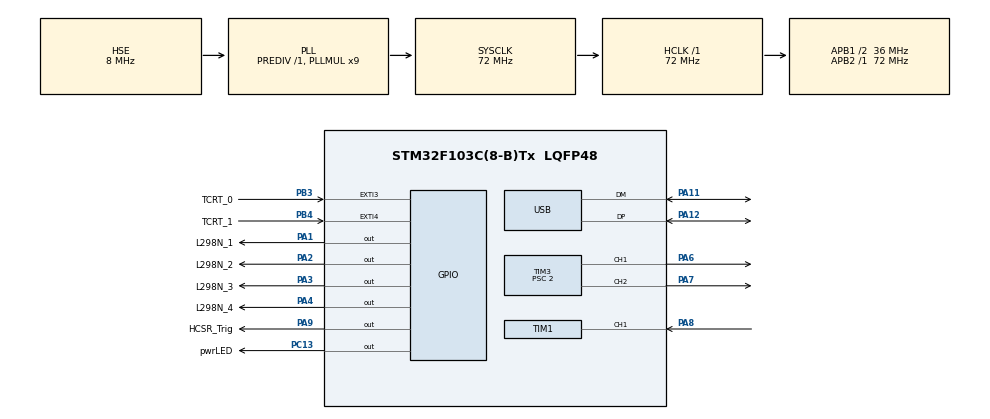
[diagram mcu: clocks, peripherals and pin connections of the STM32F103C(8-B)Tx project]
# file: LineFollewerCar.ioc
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Mcu.Family=STM32F1
USB_DEVICE.CLASS_NAME_FS=CDC
PB4.GPIO_ModeDefaultEXTI=GPIO_MODE_IT_RISING_FALLING
NVIC.EXTI3_IRQn=true\:0\:0\:false\:false\:true\:true\:true
PA11.Mode=Device
PB3.GPIO_ModeDefaultEXTI=GPIO_MODE_IT_RISING_FALLING
RCC.SYSCLKSource=RCC_SYSCLKSOURCE_PLLCLK
ProjectManager.StackSize=0x400
PD1-OSC_OUT.Signal=RCC_OSC_OUT
PA12.Signal=USB_DP
TIM1.Prescaler=72-1
RCC.HCLKFreq_Value=72000000
RCC.APB2TimFreq_Value=72000000
TIM3.Period=999
RCC.AHBFreq_Value=72000000
TIM3.Channel-PWM\ Generation1\ CH1=TIM_CHANNEL_1
RCC.PLLMUL=RCC_PLL_MUL9
PB3.GPIO_PuPd=GPIO_PULLDOWN
PC14-OSC32_IN.Mode=LSE-External-Oscillator
PA14.Mode=Serial_Wire
TIM3.Prescaler=2
PA8.Signal=S_TIM1_CH1
SH.S_TIM3_CH1.0=TIM3_CH1,PWM Generation1 CH1
VP_TIM1_VS_ClockSourceINT.Mode=Internal
Mcu.Package=LQFP48
PA6.Signal=S_TIM3_CH1
PA2.GPIO_Label=L298N_2
RCC.APB1TimFreq_Value=72000000
TIM1.Period=0xffff-1
PA4.GPIO_Label=L298N_4
VP_TIM3_VS_ClockSourceINT.Mode=Internal
PB4.Signal=GPXTI4
PA3.Signal=GPIO_Output
PB3.GPIO_Label=TCRT_0
RCC.PLLSourceVirtual=RCC_PLLSOURCE_HSE
PC15-OSC32_OUT.Mode=LSE-External-Oscillator
NVIC.EXTI4_IRQn=true\:0\:0\:false\:false\:true\:true\:true
PD1-OSC_OUT.Mode=HSE-External-Oscillator
USB_DEVICE.VirtualModeFS=Cdc_FS
PA9.GPIO_Label=HCSR_Trig
PC13-TAMPER-RTC.Signal=GPIO_Output
RCC.USBPrescaler=RCC_USBCLKSOURCE_PLL_DIV1_5
PD0-OSC_IN.Signal=RCC_OSC_IN
RCC.APB1CLKDivider=RCC_HCLK_DIV2
PC14-OSC32_IN.Signal=RCC_OSC32_IN
PA13.Signal=SYS_JTMS-SWDIO
SH.S_TIM1_CH1.0=TIM1_CH1,Input_Capture1_from_TI1
ProjectManager.TargetToolchain=STM32CubeIDE
VP_USB_DEVICE_VS_USB_DEVICE_CDC_FS.Mode=CDC_FS
PA9.Signal=GPIO_Output
PB4.GPIO_PuPd=GPIO_PULLDOWN
RCC.USBFreq_Value=48000000
PC15-OSC32_OUT.Signal=RCC_OSC32_OUT
PA1.Signal=GPIO_Output
PD0-OSC_IN.Mode=HSE-External-Oscillator
SH.S_TIM3_CH2.0=TIM3_CH2,PWM Generation2 CH2
board=custom
PC13-TAMPER-RTC.GPIO_Label=pwrLED
RCC.APB2Freq_Value=72000000
PB4.GPIO_Label=TCRT_1
NVIC.USB_LP_CAN1_RX0_IRQn=true\:0\:0\:false\:false\:true\:false\:true
PA1.GPIO_Label=L298N_1
PA13.Mode=Serial_Wire
Mcu.Name=STM32F103C(8-B)Tx
PA2.Signal=GPIO_Output
NVIC.TIM1_CC_IRQn=true\:0\:0\:false\:false\:true\:true\:true
PB3.Signal=GPXTI3
PA4.Signal=GPIO_Output
RCC.SYSCLKFreq_VALUE=72000000
PA12.Mode=Device
TIM1.Channel-Input_Capture1_from_TI1=TIM_CHANNEL_1
PA11.Signal=USB_DM
PA14.Signal=SYS_JTCK-SWCLK
ProjectManager.HeapSize=0x200
NVIC.PriorityGroup=NVIC_PRIORITYGROUP_4
TIM3.Channel-PWM\ Generation2\ CH2=TIM_CHANNEL_2
RCC.APB1Freq_Value=36000000
USB_DEVICE.VirtualMode=Cdc
PA3.GPIO_Label=L298N_3
PA7.Signal=S_TIM3_CH2

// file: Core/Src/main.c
/* USER CODE BEGIN Header */
/**
  ******************************************************************************
  * @file           : main.c
  * @brief          : Main program body
  ******************************************************************************
  * @attention
  *
  * <h2><center>&copy; Copyright (c) 2021 STMicroelectronics.
  * All rights reserved.</center></h2>
  *
  * This software component is licensed by ST under BSD 3-Clause license,
  * the "License"; You may not use this file except in compliance with the
  * License. You may obtain a copy of the License at:
  *                        opensource.org/licenses/BSD-3-Clause
  *
  ******************************************************************************
  */
/* USER CODE END Header */
#include "main.h"
#include "usb_device.h"

/* USER CODE BEGIN Includes */
#include "L298N.h"
#include "TCRT5000.h"
#include "HCSR04.h"
/* USER CODE END Includes */

/* USER CODE BEGIN PD */
#define STOP_DISTANCE	10U
#define MOTOR_SPEED_LINEAR_MAX	630U
#define MOTOR_SPEED_ROUNDED_MAX	680U
/* USER CODE END PD */

TIM_HandleTypeDef htim1;
TIM_HandleTypeDef htim3;

/* USER CODE BEGIN PV */
//HCSR04 Handler
HCSR_Handlder_t hhcsr;

//TCRT5000 Handler
TCRT_Handler_t htcrt_right;
TCRT_Handler_t htcrt_left;

//L298N Handler
L298N_Handler_t hl298n_right;
L298N_Handler_t hl298n_left;

/* USER CODE END PV */

void SystemClock_Config(void);
static void MX_GPIO_Init(void);
static void MX_TIM1_Init(void);
static void MX_TIM3_Init(void);
/* USER CODE BEGIN PFP */
//Init Func.
static void HCSR04_Init(void);
static void HTCRT_Init(void);
static void HL298N_Init(void);

//Motor Func
void motorForward(void);
void motorBackward(void);
void motorLeft(void);
void motorRight(void);
void motorStop(void);
void motorHandler(int8_t cmd);
//TCRT
int8_t tcrt_handler(void);

//HCSR04 Distance Control
int8_t hcsr_cntrlDistance(void);

int8_t cmd = 0;
/* USER CODE END PFP */

int main(void)
{

  /* MCU Configuration--------------------------------------------------------*/

  /* Reset of all peripherals, Initializes the Flash interface and the Systick. */
  HAL_Init();

  /* Configure the system clock */
  SystemClock_Config();

  /* Initialize all configured peripherals */
  MX_GPIO_Init();
  MX_TIM1_Init();
  MX_TIM3_Init();
  MX_USB_DEVICE_Init();
  /* USER CODE BEGIN 2 */
  HCSR04_Init();
  HTCRT_Init();
  HL298N_Init();

  HAL_Delay(1500);
  /* USER CODE END 2 */

  /* Infinite loop */
  while (1)
  {

    /* USER CODE BEGIN 3 */
	  //Send Read Command
	  HCSR_Read(&hhcsr);

	  //Calculate distance
	  HCSR_Handler(&hhcsr);
	  cmd = tcrt_handler();
	  //control Distance
	  if(hcsr_cntrlDistance()){
		 motorHandler(cmd);
	  }else{
		  //Motor Stop
		  motorStop();
	  }

	  //Wait echo signal
	  HAL_Delay(100);

  }
  /* USER CODE END 3 */
}

void SystemClock_Config(void)
{
  RCC_OscInitTypeDef RCC_OscInitStruct = {0};
  RCC_ClkInitTypeDef RCC_ClkInitStruct = {0};
  RCC_PeriphCLKInitTypeDef PeriphClkInit = {0};

  /** Initializes the RCC Oscillators according to the specified parameters
  * in the RCC_OscInitTypeDef structure.
  */
  RCC_OscInitStruct.OscillatorType = RCC_OSCILLATORTYPE_HSE;
  RCC_OscInitStruct.HSEState = RCC_HSE_ON;
  RCC_OscInitStruct.HSEPredivValue = RCC_HSE_PREDIV_DIV1;
  RCC_OscInitStruct.HSIState = RCC_HSI_ON;
  RCC_OscInitStruct.PLL.PLLState = RCC_PLL_ON;
  RCC_OscInitStruct.PLL.PLLSource = RCC_PLLSOURCE_HSE;
  RCC_OscInitStruct.PLL.PLLMUL = RCC_PLL_MUL9;
  if (HAL_RCC_OscConfig(&RCC_OscInitStruct) != HAL_OK)
  {
    Error_Handler();
  }
  /** Initializes the CPU, AHB and APB buses clocks
  */
  RCC_ClkInitStruct.ClockType = RCC_CLOCKTYPE_HCLK|RCC_CLOCKTYPE_SYSCLK
                              |RCC_CLOCKTYPE_PCLK1|RCC_CLOCKTYPE_PCLK2;
  RCC_ClkInitStruct.SYSCLKSource = RCC_SYSCLKSOURCE_PLLCLK;
  RCC_ClkInitStruct.AHBCLKDivider = RCC_SYSCLK_DIV1;
  RCC_ClkInitStruct.APB1CLKDivider = RCC_HCLK_DIV2;
  RCC_ClkInitStruct.APB2CLKDivider = RCC_HCLK_DIV1;

  if (HAL_RCC_ClockConfig(&RCC_ClkInitStruct, FLASH_LATENCY_2) != HAL_OK)
  {
    Error_Handler();
  }
  PeriphClkInit.PeriphClockSelection = RCC_PERIPHCLK_USB;
  PeriphClkInit.UsbClockSelection = RCC_USBCLKSOURCE_PLL_DIV1_5;
  if (HAL_RCCEx_PeriphCLKConfig(&PeriphClkInit) != HAL_OK)
  {
    Error_Handler();
  }
}

static void MX_TIM1_Init(void)
{

  TIM_ClockConfigTypeDef sClockSourceConfig = {0};
  TIM_MasterConfigTypeDef sMasterConfig = {0};
  TIM_IC_InitTypeDef sConfigIC = {0};

  htim1.Instance = TIM1;
  htim1.Init.Prescaler = 72-1;
  htim1.Init.CounterMode = TIM_COUNTERMODE_UP;
  htim1.Init.Period = 0xffff-1;
  htim1.Init.ClockDivision = TIM_CLOCKDIVISION_DIV1;
  htim1.Init.RepetitionCounter = 0;
  htim1.Init.AutoReloadPreload = TIM_AUTORELOAD_PRELOAD_DISABLE;
  if (HAL_TIM_Base_Init(&htim1) != HAL_OK)
  {
    Error_Handler();
  }
  sClockSourceConfig.ClockSource = TIM_CLOCKSOURCE_INTERNAL;
  if (HAL_TIM_ConfigClockSource(&htim1, &sClockSourceConfig) != HAL_OK)
  {
    Error_Handler();
  }
  if (HAL_TIM_IC_Init(&htim1) != HAL_OK)
  {
    Error_Handler();
  }
  sMasterConfig.MasterOutputTrigger = TIM_TRGO_RESET;
  sMasterConfig.MasterSlaveMode = TIM_MASTERSLAVEMODE_DISABLE;
  if (HAL_TIMEx_MasterConfigSynchronization(&htim1, &sMasterConfig) != HAL_OK)
  {
    Error_Handler();
  }
  sConfigIC.ICPolarity = TIM_INPUTCHANNELPOLARITY_RISING;
  sConfigIC.ICSelection = TIM_ICSELECTION_DIRECTTI;
  sConfigIC.ICPrescaler = TIM_ICPSC_DIV1;
  sConfigIC.ICFilter = 0;
  if (HAL_TIM_IC_ConfigChannel(&htim1, &sConfigIC, TIM_CHANNEL_1) != HAL_OK)
  {
    Error_Handler();
  }

}

static void MX_TIM3_Init(void)
{

  TIM_ClockConfigTypeDef sClockSourceConfig = {0};
  TIM_MasterConfigTypeDef sMasterConfig = {0};
  TIM_OC_InitTypeDef sConfigOC = {0};

  htim3.Instance = TIM3;
  htim3.Init.Prescaler = 2;
  htim3.Init.CounterMode = TIM_COUNTERMODE_UP;
  htim3.Init.Period = 999;
  htim3.Init.ClockDivision = TIM_CLOCKDIVISION_DIV1;
  htim3.Init.AutoReloadPreload = TIM_AUTORELOAD_PRELOAD_DISABLE;
  if (HAL_TIM_Base_Init(&htim3) != HAL_OK)
  {
    Error_Handler();
  }
  sClockSourceConfig.ClockSource = TIM_CLOCKSOURCE_INTERNAL;
  if (HAL_TIM_ConfigClockSource(&htim3, &sClockSourceConfig) != HAL_OK)
  {
    Error_Handler();
  }
  if (HAL_TIM_PWM_Init(&htim3) != HAL_OK)
  {
    Error_Handler();
  }
  sMasterConfig.MasterOutputTrigger = TIM_TRGO_RESET;
  sMasterConfig.MasterSlaveMode = TIM_MASTERSLAVEMODE_DISABLE;
  if (HAL_TIMEx_MasterConfigSynchronization(&htim3, &sMasterConfig) != HAL_OK)
  {
    Error_Handler();
  }
  sConfigOC.OCMode = TIM_OCMODE_PWM1;
  sConfigOC.Pulse = 0;
  sConfigOC.OCPolarity = TIM_OCPOLARITY_HIGH;
  sConfigOC.OCFastMode = TIM_OCFAST_DISABLE;
  if (HAL_TIM_PWM_ConfigChannel(&htim3, &sConfigOC, TIM_CHANNEL_1) != HAL_OK)
  {
    Error_Handler();
  }
  if (HAL_TIM_PWM_ConfigChannel(&htim3, &sConfigOC, TIM_CHANNEL_2) != HAL_OK)
  {
    Error_Handler();
  }
  HAL_TIM_MspPostInit(&htim3);

}

static void MX_GPIO_Init(void)
{
  GPIO_InitTypeDef GPIO_InitStruct = {0};

  /* GPIO Ports Clock Enable */
  __HAL_RCC_GPIOC_CLK_ENABLE();
  __HAL_RCC_GPIOD_CLK_ENABLE();
  __HAL_RCC_GPIOA_CLK_ENABLE();
  __HAL_RCC_GPIOB_CLK_ENABLE();

  /*Configure GPIO pin Output Level */
  HAL_GPIO_WritePin(pwrLED_GPIO_Port, pwrLED_Pin, GPIO_PIN_RESET);

  /*Configure GPIO pin Output Level */
  HAL_GPIO_WritePin(GPIOA, L298N_1_Pin|L298N_2_Pin|L298N_3_Pin|L298N_4_Pin
                          |HCSR_Trig_Pin, GPIO_PIN_RESET);

  /*Configure GPIO pin : pwrLED_Pin */
  GPIO_InitStruct.Pin = pwrLED_Pin;
  GPIO_InitStruct.Mode = GPIO_MODE_OUTPUT_PP;
  GPIO_InitStruct.Pull = GPIO_NOPULL;
  GPIO_InitStruct.Speed = GPIO_SPEED_FREQ_LOW;
  HAL_GPIO_Init(pwrLED_GPIO_Port, &GPIO_InitStruct);

  /*Configure GPIO pins : L298N_1_Pin L298N_2_Pin L298N_3_Pin L298N_4_Pin
                           HCSR_Trig_Pin */
  GPIO_InitStruct.Pin = L298N_1_Pin|L298N_2_Pin|L298N_3_Pin|L298N_4_Pin
                          |HCSR_Trig_Pin;
  GPIO_InitStruct.Mode = GPIO_MODE_OUTPUT_PP;
  GPIO_InitStruct.Pull = GPIO_NOPULL;
  GPIO_InitStruct.Speed = GPIO_SPEED_FREQ_LOW;
  HAL_GPIO_Init(GPIOA, &GPIO_InitStruct);

  /*Configure GPIO pins : TCRT_0_Pin TCRT_1_Pin */
  GPIO_InitStruct.Pin = TCRT_0_Pin|TCRT_1_Pin;
  GPIO_InitStruct.Mode = GPIO_MODE_IT_RISING_FALLING;
  GPIO_InitStruct.Pull = GPIO_PULLDOWN;
  HAL_GPIO_Init(GPIOB, &GPIO_InitStruct);

  /* EXTI interrupt init*/
  HAL_NVIC_SetPriority(EXTI3_IRQn, 0, 0);
  HAL_NVIC_EnableIRQ(EXTI3_IRQn);

  HAL_NVIC_SetPriority(EXTI4_IRQn, 0, 0);
  HAL_NVIC_EnableIRQ(EXTI4_IRQn);

}

/* USER CODE BEGIN 4 */
static void HCSR04_Init(void){
	hhcsr.config.htim = &htim1;
	hhcsr.config.channel = TIM_CHANNEL_1;
	hhcsr.config.trigPort = HCSR_Trig_GPIO_Port;
	hhcsr.config.trigPin = HCSR_Trig_Pin;

	if(HAL_OK != HCSR_Init(&hhcsr)){
		Error_Handler();
	}
}

static void HTCRT_Init(void){
	//tcrt right
	htcrt_right.Config.trigPort = TCRT_0_GPIO_Port;
	htcrt_right.Config.trigPin = TCRT_0_Pin;

	if(HAL_OK != TCRT_Init(&htcrt_right)){
		Error_Handler();
	}

	//tcrt left
	htcrt_left.Config.trigPort = TCRT_1_GPIO_Port;
	htcrt_left.Config.trigPin = TCRT_1_Pin;

	if(HAL_OK != TCRT_Init(&htcrt_left)){
		Error_Handler();
	}
}

static void HL298N_Init(void){
	//L298N Right
	hl298n_right.Config.Timer = &htim3;
	hl298n_right.Config.Channel = TIM_CHANNEL_1;
	hl298n_right.Config.port[0] = L298N_1_GPIO_Port;
	hl298n_right.Config.port[1] = L298N_2_GPIO_Port;
	hl298n_right.Config.pin[0] = L298N_1_Pin;
	hl298n_right.Config.pin[1] = L298N_2_Pin;

	if(HAL_OK != L298N_MotorInit(&hl298n_right)){
		Error_Handler();
	}

	//L298N Left
	hl298n_left.Config.Timer = &htim3;
	hl298n_left.Config.Channel = TIM_CHANNEL_2;
	hl298n_left.Config.port[0] = L298N_3_GPIO_Port;
	hl298n_left.Config.port[1] = L298N_4_GPIO_Port;
	hl298n_left.Config.pin[0] = L298N_3_Pin;
	hl298n_left.Config.pin[1] = L298N_4_Pin;

	if(HAL_OK != L298N_MotorInit(&hl298n_left)){
		Error_Handler();
	}
}

void HAL_TIM_IC_CaptureCallback(TIM_HandleTypeDef *htim){
	HCSR_IC_Handler(&hhcsr, htim);
}

void HAL_GPIO_EXTI_Callback(uint16_t GPIO_Pin){
	//TCRT Right
	TCRT_IT_Handler(&htcrt_right, GPIO_Pin);
	//TCRT Left
	TCRT_IT_Handler(&htcrt_left, GPIO_Pin);
}

//Motor Func
void motorForward(void){
	//set direction to forward
	L298N_setMotorDirection(&hl298n_right, L298N_MOTOR_DIRECTION_FORWARD);
	L298N_setMotorDirection(&hl298n_left, L298N_MOTOR_DIRECTION_FORWARD);

	//set motor Speed
	L298N_setMotorSpeed(&hl298n_right, MOTOR_SPEED_LINEAR_MAX);
	L298N_setMotorSpeed(&hl298n_left, MOTOR_SPEED_LINEAR_MAX);
}

void motorBackward(void){
	//set direction to backward
	L298N_setMotorDirection(&hl298n_right, L298N_MOTOR_DIRECTION_BACKWARD);
	L298N_setMotorDirection(&hl298n_left, L298N_MOTOR_DIRECTION_BACKWARD);

	//set motor Speed
	L298N_setMotorSpeed(&hl298n_right, MOTOR_SPEED_LINEAR_MAX);
	L298N_setMotorSpeed(&hl298n_left, MOTOR_SPEED_LINEAR_MAX);
}

void motorLeft(void){
	//set direction to forward
	L298N_setMotorDirection(&hl298n_right, L298N_MOTOR_DIRECTION_STOP);
	L298N_setMotorDirection(&hl298n_left, L298N_MOTOR_DIRECTION_FORWARD);

	//set motor Speed
	L298N_setMotorSpeed(&hl298n_right, L298N_MOTOR_SPEED_STOP);
	L298N_setMotorSpeed(&hl298n_left, MOTOR_SPEED_ROUNDED_MAX);
}

void motorRight(void){
	//set direction to forward
	L298N_setMotorDirection(&hl298n_right, L298N_MOTOR_DIRECTION_FORWARD);
	L298N_setMotorDirection(&hl298n_left, L298N_MOTOR_DIRECTION_STOP);

	//set motor Speed
	L298N_setMotorSpeed(&hl298n_right, MOTOR_SPEED_ROUNDED_MAX);
	L298N_setMotorSpeed(&hl298n_left, L298N_MOTOR_SPEED_STOP);
}

void motorStop(void){
	//set direction to forward
	L298N_setMotorDirection(&hl298n_right, L298N_MOTOR_DIRECTION_STOP);
	L298N_setMotorDirection(&hl298n_left, L298N_MOTOR_DIRECTION_STOP);

	//set motor Speed
	L298N_setMotorSpeed(&hl298n_right, L298N_MOTOR_SPEED_STOP);
	L298N_setMotorSpeed(&hl298n_left, L298N_MOTOR_SPEED_STOP);
}

void motorHandler(int8_t cmd){
	if(cmd == 0){
		motorStop();
	}else if(cmd == 1){
		motorForward();
	}else if(cmd == 2){
		motorLeft();
	}else if(cmd == 3){
		motorRight();
	}else if(cmd == 4){
		motorBackward();
	}else{
		motorStop();
	}
}

int8_t tcrt_handler(void){
	//0 -> STOP
	//1 -> Forward
	//2 -> Left
	//3 -> Right
	//4 -> Bacward
	TCRT_FlagStatus_t leftStatus = TCRT_getStatus(&htcrt_left);
	TCRT_FlagStatus_t rightStatus = TCRT_getStatus(&htcrt_right);
	if(!(leftStatus || rightStatus)){
		return 1;
	}else if(leftStatus && rightStatus){
		return 0;
	}else if(!rightStatus && leftStatus){
		return 2;
	}else if(rightStatus && !leftStatus){
		return 3;

	}else{
		return 0;
	}
}

int8_t hcsr_cntrlDistance(void){
	//If distance is lower than STOP_DISTANACE (10cm), Motor stop
	if(HCSR_getDistance(&hhcsr) < STOP_DISTANCE){
		return RESET;
	}
	return SET;
}
/* USER CODE END 4 */

void Error_Handler(void)
{
  __disable_irq();
  while (1)
  {
  }
}

/************************ (C) COPYRIGHT STMicroelectronics *****END OF FILE****/
